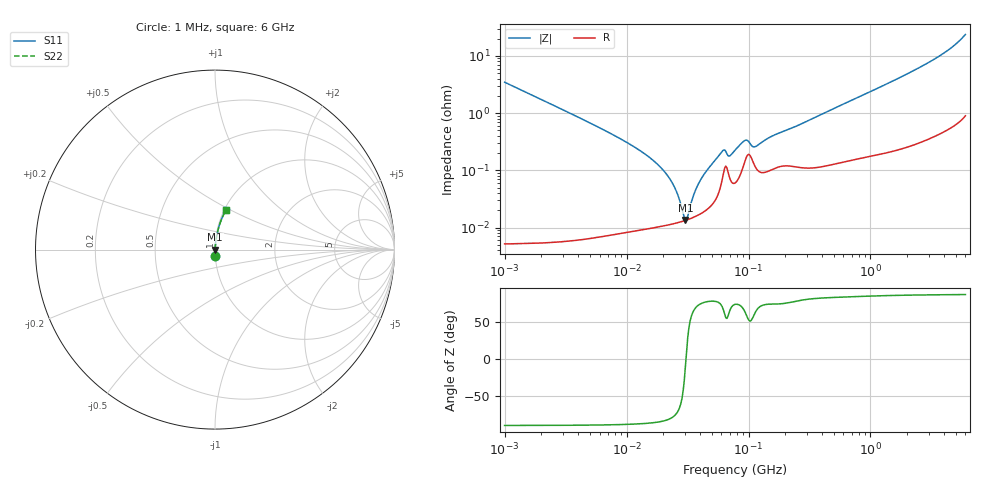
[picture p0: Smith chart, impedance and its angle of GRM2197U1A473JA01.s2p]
!Murata Part Number: GRM2197U1A473JA01
!These Parameters are Measured in Series Mode Connection
!Data Generated on Mar 30, 2021
!  o--ll--o
!Port1  Port2
!  o------o
!Operation Temp=25[degC], DC Bias Voltage=0[V]
!Freq. Start=1000[kHz] Stop=6[GHz] 401[Steps]
# Hz S RI R 50
!Freq.(Hz) S11(Real) S11(Imag) S21(Real) S21(Imag) S12(Real) S12(Imag) S22(Real) S22(Imag)
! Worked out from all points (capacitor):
!   401 points, 1 MHz to 6 GHz, reference 50 ohm
!   read as one part in series: C = 45.9 nF near 1.044 MHz
!   lowest |Z| = 13.5 mohm at 30.4 MHz (marker M1)
!   series resonance near 30.68 MHz, so ESL is about 590 pH
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1000000  0.00125 -0.0346  0.9988 0.0346  0.9988 0.0346  0.00125 -0.0346
4293785  0.000124 -0.0079  0.9999 0.0079  0.9999 0.0079  0.000124 -0.0079
1.093935e7  9.24e-05 -0.00275  0.9999 0.00275  0.9999 0.00275  9.24e-05 -0.00275
1.843659e7  0.000104 -0.0012  0.9999 0.0012  0.9999 0.0012  0.000104 -0.0012
2.146833e7  0.00011 -0.000825  0.9999 0.000825  0.9999 0.000825  0.00011 -0.000825
2.44608e7  0.000117 -0.000519  0.9999 0.000519  0.9999 0.000519  0.000117 -0.000519
2.668407e7  0.000123 -0.000319  0.9999 0.000319  0.9999 0.000319  0.000123 -0.000319
2.910942e7  0.000129 -0.00012  0.9999 0.00012  0.9999 0.00012  0.000129 -0.00012
3.040356e7  0.000133 -2.06e-05  0.9999 2.06e-05  0.9999 2.06e-05  0.000133 -2.06e-05
3.175522e7  0.000138 7.93e-05  0.9999 -7.93e-05  0.9999 -7.93e-05  0.000138 7.93e-05
3.779011e7  0.000161 0.00049  0.9998 -0.00049  0.9998 -0.00049  0.000161 0.00049
4.497189e7  0.000202 0.000939  0.9998 -0.000939  0.9998 -0.000939  0.000202 0.000939
6.097846e7  0.000711 0.00204  0.9993 -0.00204  0.9993 -0.00204  0.000711 0.00204
6.947823e7  0.000781 0.00158  0.9992 -0.00158  0.9992 -0.00158  0.000781 0.00158
7.745967e7  0.000604 0.00216  0.9994 -0.00216  0.9994 -0.00216  0.000604 0.00216
9.218041e7  0.00132 0.00298  0.9987 -0.00298  0.9987 -0.00298  0.00132 0.00298
1.145757e8  0.00111 0.00235  0.9989 -0.00235  0.9989 -0.00235  0.00111 0.00235
1.553559e8  0.00104 0.0038  0.999 -0.0038  0.999 -0.0038  0.00104 0.0038
3.325952e8  0.00116 0.00788  0.9988 -0.00788  0.9988 -0.00788  0.00116 0.00788
1.428092e9  0.00321 0.0337  0.9968 -0.0337  0.9968 -0.0337  0.00321 0.0337
3.5601e9  0.013 0.0934  0.987 -0.0934  0.987 -0.0934  0.013 0.0934
6e9  0.0602 0.2197  0.9398 -0.2197  0.9398 -0.2197  0.0602 0.2197
